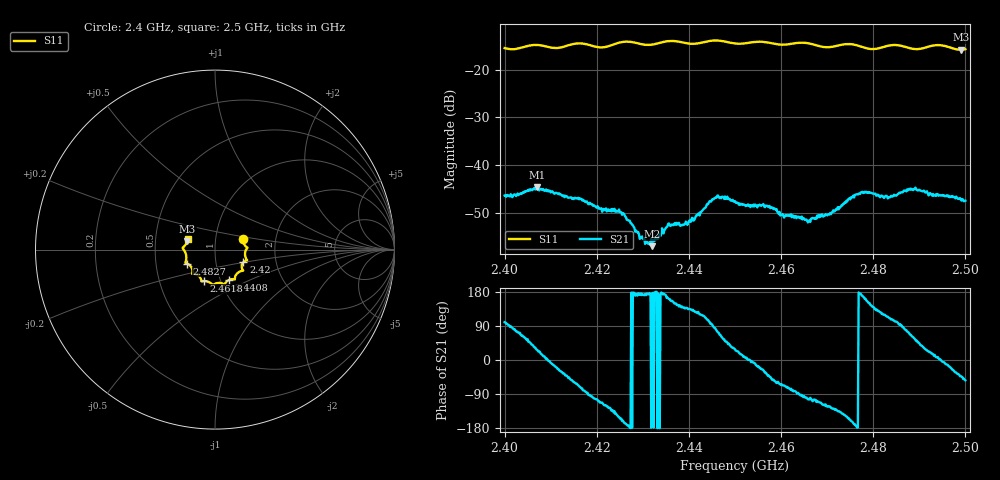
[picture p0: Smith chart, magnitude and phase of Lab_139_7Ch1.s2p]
# Hz S RI R 50
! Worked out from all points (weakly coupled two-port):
!   601 points, 2.4 GHz to 2.5 GHz, reference 50 ohm
!   highest |S21| = -44.67 dB at 2.407 GHz (marker M1); lowest = -57.0 dB at 2.432 GHz (marker M2)
!   lowest |S11| = -15.8 dB at 2.499 GHz (marker M3), VSWR 1.38, Z = 36.5 + j3.52 ohm
!   |S11| at or under -10 dB: start of sweep to end of sweep
!   S12 and S22 are empty: the file has one direction only
!   S11 on the Smith chart (normalised r, x): 2.4 GHz: 1.36, +0.17; 2.42 GHz: 1.36, -0.19; 2.4408 GHz: 1.10, -0.39; 2.4618 GHz: 0.84, -0.30; 2.4827 GHz: 0.72, -0.12; 2.5 GHz: 0.73, +0.09
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2.4e9  0.1563 0.0618  -0.000823 0.00473  0 0  0 0
2.407e9  0.1809 0.011  0.00519 0.00268  0 0  0 0
2.416667e9  0.1783 -0.0595  0.00117 -0.00425  0 0  0 0
2.42e9  0.158 -0.0693  -0.000841 -0.00347  0 0  0 0
2.425333e9  0.1558 -0.1152  -0.00289 -0.00136  0 0  0 0
2.429667e9  0.1386 -0.1221  -0.0017 0.000257  0 0  0 0
2.432e9  0.1178 -0.1397  -0.00141 0.000105  0 0  0 0
2.433333e9  0.112 -0.1519  -0.00168 0.000142  0 0  0 0
2.435667e9  0.1107 -0.1656  -0.00231 0.000804  0 0  0 0
2.440833e9  0.0791 -0.1689  -0.00189 0.00204  0 0  0 0
2.445833e9  0.0517 -0.1952  0.000714 0.00452  0 0  0 0
2.45e9  0.0277 -0.1857  0.00369 0.00198  0 0  0 0
2.461833e9  -0.0602 -0.1751  0.00074 -0.00291  0 0  0 0
2.466667e9  -0.077 -0.1685  -0.000677 -0.00268  0 0  0 0
2.4705e9  -0.1003 -0.1397  -0.00163 -0.00255  0 0  0 0
2.477167e9  -0.1252 -0.1228  -0.00498 0.000368  0 0  0 0
2.482667e9  -0.1568 -0.0778  -0.00215 0.00424  0 0  0 0
2.483333e9  -0.1611 -0.0765  -0.00172 0.00423  0 0  0 0
2.488667e9  -0.1598 -0.041  0.00271 0.00475  0 0  0 0
2.494167e9  -0.1804 0.00899  0.00476 0.000387  0 0  0 0
2.499e9  -0.1543 0.047  0.00319 -0.00293  0 0  0 0
2.5e9  -0.1518 0.0616  0.00252 -0.00341  0 0  0 0
